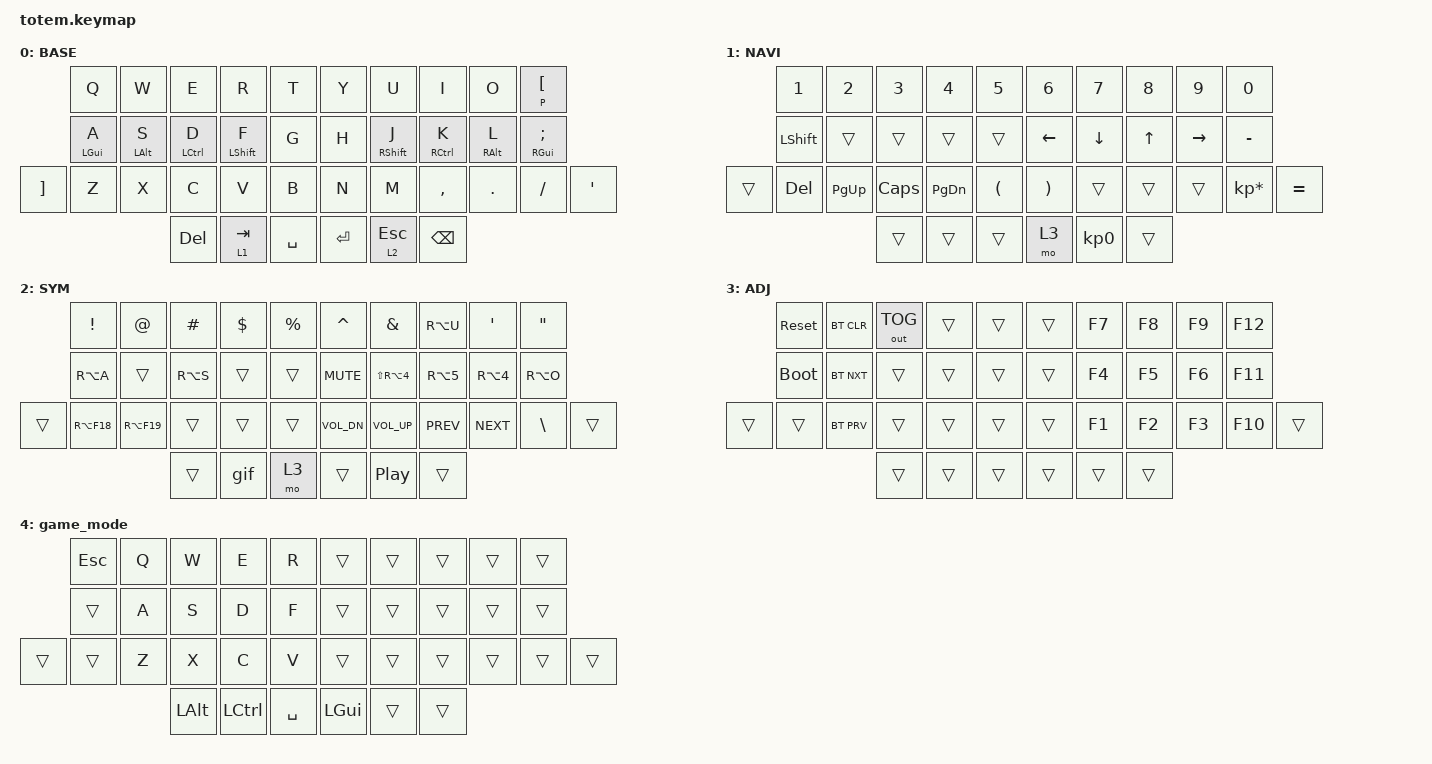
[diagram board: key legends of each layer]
//
//                                                        ▀▀▀▀▀     ▀▀▀▀▀          ▀▀█▀▀
//                                                        ▄▀▀▀▄  ▄  ▄▀▀▀▄  ▄  ▄▀▀▀▄  █  ▄▀▀▀▄
//                                                        █   █  █  █   █  █  █   █  █  █   █
//                                                         ▀▀▀   █   ▀▀▀   █   ▀▀▀   ▀   ▀▀▀
//                                                               █      ▄▄▄█▄▄▄    █   █  
//                                                               ▀      █  █  █     █▄█
//                                                             ▀▀▀▀▀    █  █  █      ▀
//                                                                      ▀  ▀  ▀
//
// ▄▄▄▄▄▄▄▄▄▄▄▄▄▄▄▄▄▄▄▄▄▄▄▄▄▄▄▄▄▄▄▄▄▄▄▄▄▄▄▄▄▄▄▄▄▄▄▄▄▄▄▄▄▄▄▄▄▄▄▄▄▄▄▄▄▄▄▄▄▄▄▄▄▄▄▄▄▄▄▄▄▄▄▄▄▄▄▄▄▄▄▄▄▄▄▄▄▄▄▄▄▄▄▄▄▄▄▄▄▄▄▄▄▄▄▄▄▄▄▄▄▄▄▄▄▄▄▄▄▄▄▄▄▄▄▄▄▄▄▄▄▄▄▄▄▄▄▄▄

#include <behaviors.dtsi>
#include <dt-bindings/zmk/bt.h>
#include <dt-bindings/zmk/keys.h>
#include <dt-bindings/zmk/outputs.h>

#define BASE 0
#define NAV  1
#define SYM  2
#define ADJ  3
#define TVP1 4
#define TVP2 5

&mt {
    quick-tap-ms = <100>;
    global-quick-tap;
    flavor = "tap-preferred";
    tapping-term-ms = <170>;
};

/ {
    combos {
        compatible = "zmk,combos";

        combo_esc {
            timeout-ms = <50>;
            key-positions = <0 1>;
            bindings = <&kp ESC>;
        };

        combo_tvp {
            timeout-ms = <100>;
            key-positions = <11 12 13>;
            bindings = <&tog 0>;
        };

        game_mode {
            bindings = <&tog 4>;
            key-positions = <3 2 1>;
            timeout-ms = <100>;
        };
    };

    macros {
        gif: gif {
            label = "giphy";
            compatible = "zmk,behavior-macro";
            #binding-cells = <0>;
            bindings =
                <&macro_press>,
                <&kp LSHFT>,
                <&macro_tap>,
                <&kp N2>,
                <&macro_release>,
                <&kp LSHFT>,
                <&macro_tap>,
                <&kp G &kp I &kp F>;
        };
    };

    keymap {
        compatible = "zmk,keymap";

        // ▄▄▄▄▄▄▄▄▄▄▄▄▄▄▄▄▄▄▄▄▄▄▄▄▄▄▄▄▄▄▄▄▄▄▄▄▄▄▄▄▄▄▄▄▄▄▄▄▄▄▄▄▄▄▄▄▄▄▄▄▄▄▄▄▄▄▄▄▄▄▄▄▄▄▄▄▄▄▄▄▄▄▄▄▄▄▄▄▄▄▄▄▄▄▄▄▄▄▄▄▄▄▄▄▄▄▄▄▄▄▄▄▄▄▄▄▄▄▄▄▄▄▄▄▄▄▄▄▄▄▄▄▄▄▄▄▄▄▄▄▄▄▄▄▄▄▄▄▄

        base_layer {
            // ┏━━━━━━━━━━━━━━━━━━━━━━━━━━━━━━━━━━━━━━━┓

            label = "BASE";

            // ┗━━━━━━━━━━━━━━━━━━━━━━━━━━━━━━━━━━━━━━━┛
            //             ┏━━━━━━━━━━━┳━━━━━━━━━━━┳━━━━━━━━━━━┳━━━━━━━━━━━┳━━━━━━━━━━━┓   ┏━━━━━━━━━━━┳━━━━━━━━━━━┳━━━━━━━━━━━┳━━━━━━━━━━━┳━━━━━━━━━━━┓
            //             ┃     Q     ┃     W     ┃     F     ┃     P     ┃     G     ┃   ┃     J     ┃     L     ┃     U     ┃     Y     ┃     ;     ┃
            //             ┣━━━━━━━━━━━╋━━━━━━━━━━━╋━━━━━━━━━━━╋━━━━━━━━━━━╋━━━━━━━━━━━┫   ┣━━━━━━━━━━━╋━━━━━━━━━━━╋━━━━━━━━━━━╋━━━━━━━━━━━╋━━━━━━━━━━━┫
            //             ┃     A     ┃     R     ┃     S     ┃     T     ┃     D     ┃   ┃     H     ┃     N     ┃     E     ┃     I     ┃     O     ┃
            // ┏━━━━━━━━━━━╋━━━━━━━━━━━╋━━━━━━━━━━━╋━━━━━━━━━━━╋━━━━━━━━━━━╋━━━━━━━━━━━┫   ┣━━━━━━━━━━━╋━━━━━━━━━━━╋━━━━━━━━━━━╋━━━━━━━━━━━╋━━━━━━━━━━━╋━━━━━━━━━━━┓
            // ┃     Q     ┃     Z     ┃     X     ┃     C     ┃     V     ┃     B     ┃   ┃     K     ┃     M     ┃     ,     ┃     .     ┃     /     ┃     \     ┃
            // ┗━━━━━━━━━━━┻━━━━━━━━━━━┻━━━━━━━━━━━╋━━━━━━━━━━━╋━━━━━━━━━━━╋━━━━━━━━━━━┫   ┣━━━━━━━━━━━╋━━━━━━━━━━━╋━━━━━━━━━━━╋━━━━━━━━━━━┻━━━━━━━━━━━┻━━━━━━━━━━━┛
            //                                     ┃    DEL    ┃    TAB    ┃    SPC    ┃   ┃   ENTER   ┃           ┃   BSPC    ┃
            //                                     ┗━━━━━━━━━━━┻━━━━━━━━━━━┻━━━━━━━━━━━┛   ┗━━━━━━━━━━━┻━━━━━━━━━━━┻━━━━━━━━━━━┛

            bindings = <
          &kp Q       &kp W       &kp E        &kp R        &kp T        &kp Y    &kp U        &kp I        &kp O       &mt P LBKT
          &mt LGUI A  &mt LALT S  &mt LCTRL D  &mt LSHFT F  &kp G        &kp H    &mt RSHFT J  &mt RCTRL K  &mt RALT L  &mt RGUI SEMI
&kp RBKT  &kp Z       &kp X       &kp C        &kp V        &kp B        &kp N    &kp M        &kp COMMA    &kp DOT     &kp FSLH       &kp SQT
                                  &kp DEL      &lt 1 TAB    &kp SPACE    &kp RET  &lt 2 ESC    &kp BSPC
            >;
        };

        // ▄▄▄▄▄▄▄▄▄▄▄▄▄▄▄▄▄▄▄▄▄▄▄▄▄▄▄▄▄▄▄▄▄▄▄▄▄▄▄▄▄▄▄▄▄▄▄▄▄▄▄▄▄▄▄▄▄▄▄▄▄▄▄▄▄▄▄▄▄▄▄▄▄▄▄▄▄▄▄▄▄▄▄▄▄▄▄▄▄▄▄▄▄▄▄▄▄▄▄▄▄▄▄▄▄▄▄▄▄▄▄▄▄▄▄▄▄▄▄▄▄▄▄▄▄▄▄▄▄▄▄▄▄▄▄▄▄▄▄▄▄▄▄▄▄▄▄▄▄

        nav_layer {
            // ┏━━━━━━━━━━━━━━━━━━━━━━━━━━━━━━━━━━━━━━━┓

            label = "NAVI";

            // ┗━━━━━━━━━━━━━━━━━━━━━━━━━━━━━━━━━━━━━━━┛
            //             ┏━━━━━━━━━━━┳━━━━━━━━━━━┳━━━━━━━━━━━┳━━━━━━━━━━━┳━━━━━━━━━━━┓   ┏━━━━━━━━━━━┳━━━━━━━━━━━┳━━━━━━━━━━━┳━━━━━━━━━━━┳━━━━━━━━━━━┓
            //             ┃           ┃           ┃     UP    ┃           ┃     {     ┃   ┃     }     ┃     7     ┃     8     ┃     9     ┃     +     ┃
            //             ┣━━━━━━━━━━━╋━━━━━━━━━━━╋━━━━━━━━━━━╋━━━━━━━━━━━╋━━━━━━━━━━━┫   ┣━━━━━━━━━━━╋━━━━━━━━━━━╋━━━━━━━━━━━╋━━━━━━━━━━━╋━━━━━━━━━━━┫
            //             ┃   SHIFT   ┃   LEFT    ┃    DOWN   ┃   RIGHT   ┃     [     ┃   ┃     ]     ┃     4     ┃     5     ┃     6     ┃     -     ┃
            // ┏━━━━━━━━━━━╋━━━━━━━━━━━╋━━━━━━━━━━━╋━━━━━━━━━━━╋━━━━━━━━━━━╋━━━━━━━━━━━┫   ┣━━━━━━━━━━━╋━━━━━━━━━━━╋━━━━━━━━━━━╋━━━━━━━━━━━╋━━━━━━━━━━━╋━━━━━━━━━━━┓
            // ┃           ┃           ┃   P UP    ┃  C LOCK   ┃  P DOWN   ┃     (     ┃   ┃     )     ┃     1     ┃     2     ┃     3     ┃     *     ┃           ┃
            // ┗━━━━━━━━━━━┻━━━━━━━━━━━┻━━━━━━━━━━━╋━━━━━━━━━━━╋━━━━━━━━━━━╋━━━━━━━━━━━┫   ┣━━━━━━━━━━━╋━━━━━━━━━━━╋━━━━━━━━━━━╋━━━━━━━━━━━┻━━━━━━━━━━━┻━━━━━━━━━━━┛
            //                                     ┃           ┃    TAB    ┃    SPC    ┃   ┃    DEL    ┃     0     ┃           ┃
            //                                     ┗━━━━━━━━━━━┻━━━━━━━━━━━┻━━━━━━━━━━━┛   ┗━━━━━━━━━━━┻━━━━━━━━━━━┻━━━━━━━━━━━┛

            bindings = <
        &kp N1     &kp N2     &kp N3    &kp N4     &kp N5      &kp N6    &kp N7     &kp N8        &kp N9     &kp N0
        &kp LSHFT  &trans     &trans    &trans     &trans      &kp LEFT  &kp DOWN   &kp UP_ARROW  &kp RIGHT  &kp MINUS
&trans  &kp DEL    &kp PG_UP  &kp CAPS  &kp PG_DN  &kp LPAR    &kp RPAR  &trans     &trans        &trans     &kp KP_MULTIPLY  &kp EQUAL
                              &trans    &trans     &trans      &mo 3     &kp KP_N0  &trans
            >;
        };

        // ▄▄▄▄▄▄▄▄▄▄▄▄▄▄▄▄▄▄▄▄▄▄▄▄▄▄▄▄▄▄▄▄▄▄▄▄▄▄▄▄▄▄▄▄▄▄▄▄▄▄▄▄▄▄▄▄▄▄▄▄▄▄▄▄▄▄▄▄▄▄▄▄▄▄▄▄▄▄▄▄▄▄▄▄▄▄▄▄▄▄▄▄▄▄▄▄▄▄▄▄▄▄▄▄▄▄▄▄▄▄▄▄▄▄▄▄▄▄▄▄▄▄▄▄▄▄▄▄▄▄▄▄▄▄▄▄▄▄▄▄▄▄▄▄▄▄▄▄▄

        sim_layer {
            // ┏━━━━━━━━━━━━━━━━━━━━━━━━━━━━━━━━━━━━━━━┓

            label = "SYM";

            // ┗━━━━━━━━━━━━━━━━━━━━━━━━━━━━━━━━━━━━━━━┛
            //             ┏━━━━━━━━━━━┳━━━━━━━━━━━┳━━━━━━━━━━━┳━━━━━━━━━━━┳━━━━━━━━━━━┓   ┏━━━━━━━━━━━┳━━━━━━━━━━━┳━━━━━━━━━━━┳━━━━━━━━━━━┳━━━━━━━━━━━┓
            //             ┃     !     ┃     @     ┃     #     ┃     $     ┃     %     ┃   ┃     ˆ     ┃     &     ┃     Ü     ┃     '     ┃     "     ┃
            //             ┣━━━━━━━━━━━╋━━━━━━━━━━━╋━━━━━━━━━━━╋━━━━━━━━━━━╋━━━━━━━━━━━┫   ┣━━━━━━━━━━━╋━━━━━━━━━━━╋━━━━━━━━━━━╋━━━━━━━━━━━╋━━━━━━━━━━━┫
            //             ┃     Ä     ┃           ┃    SZ     ┃           ┃           ┃   ┃   MUTE    ┃   YEN     ┃   EURO    ┃  POUND    ┃     Ö     ┃
            // ┏━━━━━━━━━━━╋━━━━━━━━━━━╋━━━━━━━━━━━╋━━━━━━━━━━━╋━━━━━━━━━━━╋━━━━━━━━━━━┫   ┣━━━━━━━━━━━╋━━━━━━━━━━━╋━━━━━━━━━━━╋━━━━━━━━━━━╋━━━━━━━━━━━╋━━━━━━━━━━━┓
            // ┃           ┃  EMAIL1   ┃  EMAIL2   ┃           ┃           ┃           ┃   ┃   VOL-    ┃   VOL+    ┃   LAST    ┃   NEXT    ┃     \     ┃           ┃
            // ┗━━━━━━━━━━━┻━━━━━━━━━━━┻━━━━━━━━━━━╋━━━━━━━━━━━╋━━━━━━━━━━━╋━━━━━━━━━━━┫   ┣━━━━━━━━━━━╋━━━━━━━━━━━╋━━━━━━━━━━━╋━━━━━━━━━━━┻━━━━━━━━━━━┻━━━━━━━━━━━┛
            //                                     ┃           ┃    GIF    ┃    ADJ    ┃   ┃           ┃           ┃           ┃
            //                                     ┗━━━━━━━━━━━┻━━━━━━━━━━━┻━━━━━━━━━━━┛   ┗━━━━━━━━━━━┻━━━━━━━━━━━┻━━━━━━━━━━━┛

            bindings = <
        &kp EXCL     &kp AT       &kp HASH   &kp DLLR  &kp PRCNT    &kp CARET     &kp AMPS        &kp RA(U)   &kp SQT     &kp DQT
        &kp RA(A)    &trans       &kp RA(S)  &trans    &trans       &kp C_MUTE    &kp LS(RA(N4))  &kp RA(N5)  &kp RA(N4)  &kp RA(O)
&trans  &kp RA(F18)  &kp RA(F19)  &trans     &trans    &trans       &kp C_VOL_DN  &kp C_VOL_UP    &kp C_PREV  &kp C_NEXT  &kp BSLH   &trans
                                  &trans     &gif      &mo 3        &trans        &kp C_PP        &trans
            >;
        };

        // ▄▄▄▄▄▄▄▄▄▄▄▄▄▄▄▄▄▄▄▄▄▄▄▄▄▄▄▄▄▄▄▄▄▄▄▄▄▄▄▄▄▄▄▄▄▄▄▄▄▄▄▄▄▄▄▄▄▄▄▄▄▄▄▄▄▄▄▄▄▄▄▄▄▄▄▄▄▄▄▄▄▄▄▄▄▄▄▄▄▄▄▄▄▄▄▄▄▄▄▄▄▄▄▄▄▄▄▄▄▄▄▄▄▄▄▄▄▄▄▄▄▄▄▄▄▄▄▄▄▄▄▄▄▄▄▄▄▄▄▄▄▄▄▄▄▄▄▄▄

        adjust_layer {
            // ┏━━━━━━━━━━━━━━━━━━━━━━━━━━━━━━━━━━━━━━━┓

            label = "ADJ";

            // ┗━━━━━━━━━━━━━━━━━━━━━━━━━━━━━━━━━━━━━━━┛
            //             ┏━━━━━━━━━━━┳━━━━━━━━━━━┳━━━━━━━━━━━┳━━━━━━━━━━━┳━━━━━━━━━━━┓   ┏━━━━━━━━━━━┳━━━━━━━━━━━┳━━━━━━━━━━━┳━━━━━━━━━━━┳━━━━━━━━━━━┓
            //             ┃   RESET   ┃ BT CLEAR  ┃  OUT TOG  ┃           ┃           ┃   ┃           ┃    F7     ┃    F8     ┃    F9     ┃    F12    ┃
            //             ┣━━━━━━━━━━━╋━━━━━━━━━━━╋━━━━━━━━━━━╋━━━━━━━━━━━╋━━━━━━━━━━━┫   ┣━━━━━━━━━━━╋━━━━━━━━━━━╋━━━━━━━━━━━╋━━━━━━━━━━━╋━━━━━━━━━━━┫
            //             ┃ BOOTLOAD  ┃ BT NEXT   ┃           ┃           ┃           ┃   ┃           ┃    F4     ┃    F5     ┃    F6     ┃    F11    ┃
            // ┏━━━━━━━━━━━╋━━━━━━━━━━━╋━━━━━━━━━━━╋━━━━━━━━━━━╋━━━━━━━━━━━╋━━━━━━━━━━━┫   ┣━━━━━━━━━━━╋━━━━━━━━━━━╋━━━━━━━━━━━╋━━━━━━━━━━━╋━━━━━━━━━━━╋━━━━━━━━━━━┓
            // ┃           ┃           ┃ BT PREV   ┃           ┃           ┃           ┃   ┃           ┃    F1     ┃    F2     ┃    F3     ┃    F10    ┃           ┃
            // ┗━━━━━━━━━━━┻━━━━━━━━━━━┻━━━━━━━━━━━╋━━━━━━━━━━━╋━━━━━━━━━━━╋━━━━━━━━━━━┫   ┣━━━━━━━━━━━╋━━━━━━━━━━━╋━━━━━━━━━━━╋━━━━━━━━━━━┻━━━━━━━━━━━┻━━━━━━━━━━━┛
            //                                     ┃           ┃           ┃           ┃   ┃           ┃           ┃           ┃
            //                                     ┗━━━━━━━━━━━┻━━━━━━━━━━━┻━━━━━━━━━━━┛   ┗━━━━━━━━━━━┻━━━━━━━━━━━┻━━━━━━━━━━━┛

            bindings = <
        &sys_reset   &bt BT_CLR  &out OUT_TOG  &trans  &trans    &trans  &kp F7  &kp F8  &kp F9  &kp F12
        &bootloader  &bt BT_NXT  &trans        &trans  &trans    &trans  &kp F4  &kp F5  &kp F6  &kp F11
&trans  &trans       &bt BT_PRV  &trans        &trans  &trans    &trans  &kp F1  &kp F2  &kp F3  &kp F10  &trans
                                 &trans        &trans  &trans    &trans  &trans  &trans
            >;
        };

        // ▄▄▄▄▄▄▄▄▄▄▄▄▄▄▄▄▄▄▄▄▄▄▄▄▄▄▄▄▄▄▄▄▄▄▄▄▄▄▄▄▄▄▄▄▄▄▄▄▄▄▄▄▄▄▄▄▄▄▄▄▄▄▄▄▄▄▄▄▄▄▄▄▄▄▄▄▄▄▄▄▄▄▄▄▄▄▄▄▄▄▄▄▄▄▄▄▄▄▄▄▄▄▄▄▄▄▄▄▄▄▄▄▄▄▄▄▄▄▄▄▄▄▄▄▄▄▄▄▄▄▄▄▄▄▄▄▄▄▄▄▄▄▄▄▄▄▄▄▄
        // ▄▄▄▄▄▄▄▄▄▄▄▄▄▄▄▄▄▄▄▄▄▄▄▄▄▄▄▄▄▄▄▄▄▄▄▄▄▄▄▄▄▄▄▄▄▄▄▄▄▄▄▄▄▄▄▄▄▄▄▄▄▄▄▄▄▄▄▄▄▄▄▄▄▄▄▄▄▄▄▄▄▄▄▄▄▄▄▄▄▄▄▄▄▄▄▄▄▄▄▄▄▄▄▄▄▄▄▄▄▄▄▄▄▄▄▄▄▄▄▄▄▄▄▄▄▄▄▄▄▄▄▄▄▄▄▄▄▄▄▄▄▄▄▄▄▄▄▄▄

        game_mode {
            bindings = <
        &kp ESC  &kp Q  &kp W     &kp E      &kp R        &trans    &trans  &trans  &trans  &trans
        &trans   &kp A  &kp S     &kp D      &kp F        &trans    &trans  &trans  &trans  &trans
&trans  &trans   &kp Z  &kp X     &kp C      &kp V        &trans    &trans  &trans  &trans  &trans  &trans
                        &kp LALT  &kp LCTRL  &kp SPACE    &kp LGUI  &trans  &trans
            >;
        };
    };
};
